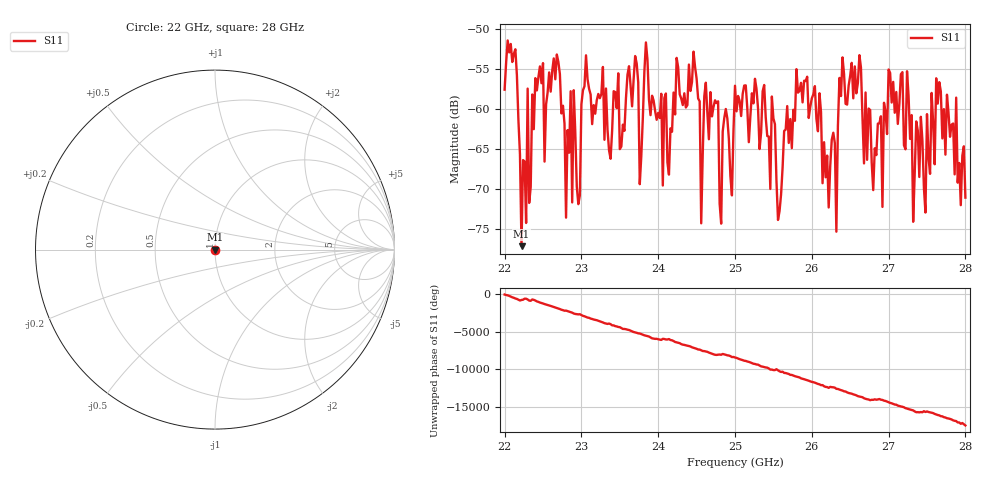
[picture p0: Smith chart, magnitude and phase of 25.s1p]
#  HZ  S  RI  R  50.00
! Rohde & Schwarz ZVA40 4Ports - Version 3.90 - 1145.1110k42 SN: 100403
! Date: 2023-10-04 06:57:59
! Measurement: S12
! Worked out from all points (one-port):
!   301 points, 22 GHz to 28 GHz, reference 50 ohm
!   lowest |S11| = -77.1 dB at 22.22 GHz (marker M1), VSWR 1.00, Z = 50 - j0.0135 ohm
!   |S11| at or under -10 dB: start of sweep to end of sweep
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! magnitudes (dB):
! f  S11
! 22 GHz  -57.6
! 22.14 GHz  -52.5
! 22.22 GHz  -77.1
! 22.3 GHz  -57.4
! 22.32 GHz  -71.7
! 22.4 GHz  -56.1
! 22.76 GHz  -59.6
! 22.8 GHz  -73.6
! 23.06 GHz  -53.3
! 23.5 GHz  -65.0
! 24.26 GHz  -54.8
! 24.46 GHz  -52.8
! 24.56 GHz  -74.3
! 24.62 GHz  -56.7
! 24.82 GHz  -74.3
! 25 GHz  -57.1
! 25.48 GHz  -58.4
! 25.56 GHz  -73.9
! 25.76 GHz  -60.1
! 26.32 GHz  -75.3
! 26.36 GHz  -56.1
! 26.5 GHz  -55.8
! 26.92 GHz  -72.2
! 27 GHz  -55.0
! 27.26 GHz  -58.3
! 27.32 GHz  -74.1
! 27.62 GHz  -56.1
! 28 GHz  -71.1
